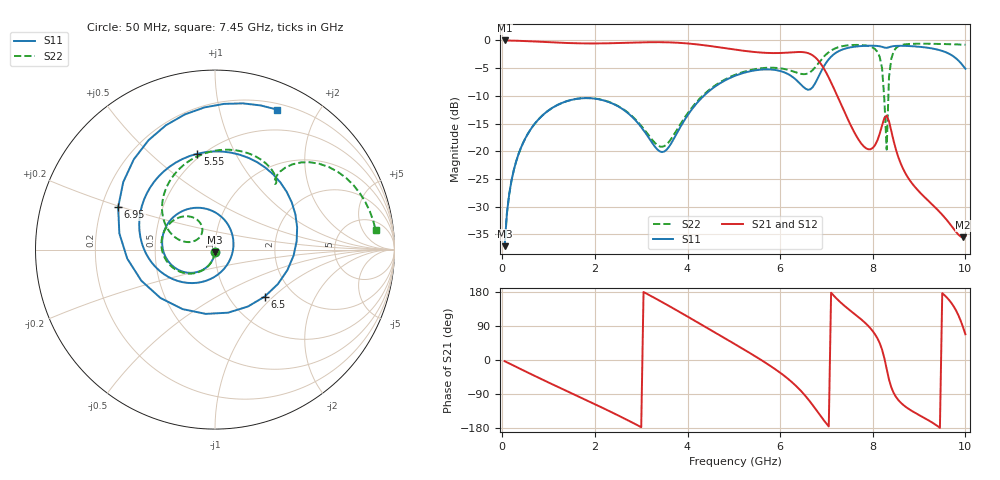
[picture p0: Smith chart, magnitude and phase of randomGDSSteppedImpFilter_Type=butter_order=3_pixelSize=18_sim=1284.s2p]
! freq	dB(S11)	phase(S11)	dB(S12)	phase(S12)
!  dB(S21)	phase(S21)	dB(S22)	phase(S22)
!S-par simulation data
#  GHz  S  DB  R 50
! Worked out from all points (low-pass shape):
!   200 points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, 50 MHz to 10 GHz, reference 50 ohm
!   highest |S21| = -0.01 dB at 50 MHz (marker M1); lowest = -35.5 dB at 9.95 GHz (marker M2)
!   |S21| within 3 dB of the highest: start of sweep to 6.751 GHz
!   lowest |S11| = -37.1 dB at 50 MHz (marker M3), VSWR 1.03, Z = 49.9 - j1.39 ohm
!   |S11| at or under -10 dB: start of sweep to 4.35 GHz
!   |S22| runs from -37.1 to -0.6 dB; largest |S21 - S12| = 0
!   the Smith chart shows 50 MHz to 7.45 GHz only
!   S11 on the Smith chart (normalised r, x): 50 MHz: 1.00, -0.03; 5.55 GHz: 0.47, +0.72; 6.5 GHz: 1.45, -0.89; 6.95 GHz: 0.27, +0.19; 7.45 GHz: 0.26, +1.51
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0.05  -37.12 -92.4  -0.01 -3.1  -0.01 -3.1  -37.12 -92.3
0.2  -25.24 -102.5  -0.03 -12.2  -0.03 -12.2  -25.24 -102.1
0.5  -17.63 -121.1  -0.12 -30.1  -0.12 -30.1  -17.62 -120.1
1.75  -10.42 163.7  -0.54 -102.4  -0.54 -102.4  -10.41 170.6
2.7  -13.03 97.5  -0.42 -158.4  -0.42 -158.4  -12.94 126.0
3.4  -20.02 -3.5  -0.32 156.3  -0.32 156.3  -19.13 136.4
4.2  -11.32 -140.0  -0.71 100.5  -0.71 100.5  -11.06 157.5
5.05  -6.31 144.8  -1.69 39.9  -1.69 39.9  -6.13 113.1
5.55  -5.30 100.4  -2.17 3.1  -2.17 3.1  -5.06 84.9
6.2  -6.21 23.8  -2.18 -52.7  -2.18 -52.7  -5.38 52.5
6.5  -8.38 -43.3  -2.12 -88.3  -2.12 -88.3  -6.09 47.5
6.7  -8.46 -118.6  -2.68 -118.6  -2.68 -118.6  -5.36 50.2
6.95  -4.60 156.3  -5.16 -160.1  -5.16 -160.1  -2.88 42.7
7.45  -1.37 66.0  -14.03 136.7  -14.03 136.7  -0.90 6.9
7.9  -0.96 19.6  -19.63 90.2  -19.63 90.2  -1.00 -25.7
8.15  -1.06 -1.4  -16.83 44.6  -16.83 44.6  -2.97 -60.0
8.3  -1.33 -10.9  -13.57 -23.9  -13.57 -23.9  -19.69 72.7
8.35  -1.23 -13.6  -14.56 -51.3  -14.56 -51.3  -6.65 37.0
8.55  -0.97 -28.1  -21.02 -105.5  -21.02 -105.5  -1.07 -12.9
9.35  -1.56 -88.6  -30.14 -170.2  -30.14 -170.2  -0.62 -61.0
9.95  -4.58 -175.6  -35.51 86.3  -35.51 86.3  -0.76 -84.1
10  -5.12 170.3  -35.32 68.0  -35.32 68.0  -0.78 -85.9
